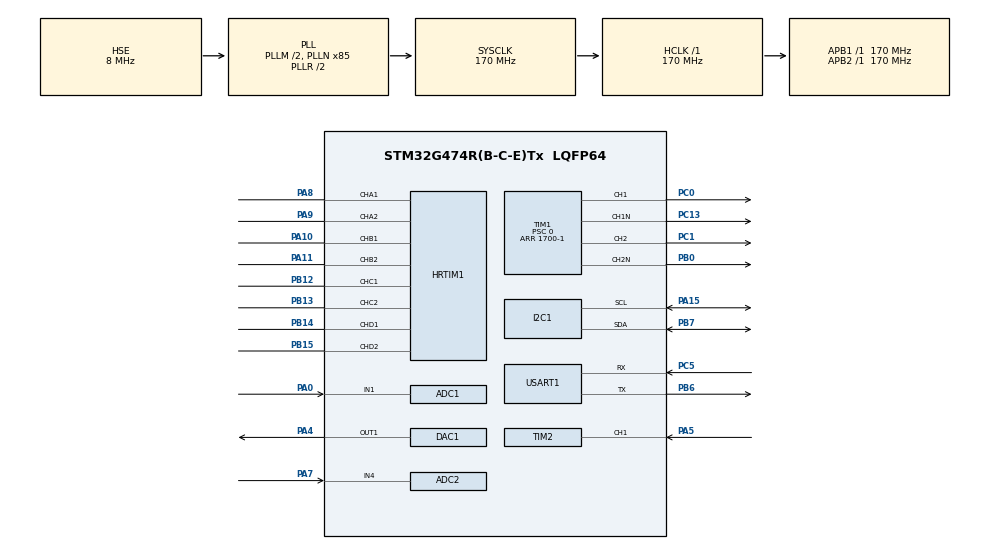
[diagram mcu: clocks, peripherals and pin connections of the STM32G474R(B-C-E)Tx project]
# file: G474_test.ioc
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ADC1.Channel-2\#ChannelRegularConversion=ADC_CHANNEL_1
ADC1.EnableInjectedConversion=DISABLE
ADC1.ExternalTrigConv=ADC_EXTERNALTRIG_T1_TRGO
ADC1.NbrOfConversionFlag=1
ADC1.OffsetNumber-2\#ChannelRegularConversion=ADC_OFFSET_NONE
ADC1.Rank-2\#ChannelRegularConversion=1
ADC1.SamplingTime-2\#ChannelRegularConversion=ADC_SAMPLETIME_2CYCLES_5
ADC1.master=1
ADC2.Channel-0\#ChannelRegularConversion=ADC_CHANNEL_4
ADC2.NbrOfConversionFlag=1
ADC2.OffsetNumber-0\#ChannelRegularConversion=ADC_OFFSET_NONE
ADC2.Rank-0\#ChannelRegularConversion=1
ADC2.SamplingTime-0\#ChannelRegularConversion=ADC_SAMPLETIME_2CYCLES_5
DAC1.DAC_Trigger_OUT1-DAC_OUT1=DAC_TRIGGER_T3_TRGO
Dma.DAC1_CH1.1.Direction=DMA_MEMORY_TO_PERIPH
Dma.DAC1_CH1.1.EventEnable=DISABLE
Dma.DAC1_CH1.1.Instance=DMA1_Channel2
Dma.DAC1_CH1.1.MemDataAlignment=DMA_MDATAALIGN_HALFWORD
Dma.DAC1_CH1.1.MemInc=DMA_MINC_ENABLE
Dma.DAC1_CH1.1.Mode=DMA_CIRCULAR
Dma.DAC1_CH1.1.PeriphDataAlignment=DMA_PDATAALIGN_WORD
Dma.DAC1_CH1.1.PeriphInc=DMA_PINC_DISABLE
Dma.DAC1_CH1.1.Polarity=HAL_DMAMUX_REQ_GEN_RISING
Dma.DAC1_CH1.1.Priority=DMA_PRIORITY_LOW
Dma.DAC1_CH1.1.RequestNumber=1
Dma.DAC1_CH1.1.SignalID=NONE
Dma.DAC1_CH1.1.SyncEnable=DISABLE
Dma.DAC1_CH1.1.SyncPolarity=HAL_DMAMUX_SYNC_NO_EVENT
Dma.DAC1_CH1.1.SyncRequestNumber=1
Dma.DAC1_CH1.1.SyncSignalID=NONE
Dma.Request0=USART1_TX
Dma.Request1=DAC1_CH1
Dma.USART1_TX.0.Direction=DMA_MEMORY_TO_PERIPH
Dma.USART1_TX.0.EventEnable=DISABLE
Dma.USART1_TX.0.Instance=DMA1_Channel1
Dma.USART1_TX.0.MemDataAlignment=DMA_MDATAALIGN_BYTE
Dma.USART1_TX.0.MemInc=DMA_MINC_ENABLE
Dma.USART1_TX.0.Mode=DMA_CIRCULAR
Dma.USART1_TX.0.PeriphDataAlignment=DMA_PDATAALIGN_BYTE
Dma.USART1_TX.0.PeriphInc=DMA_PINC_DISABLE
Dma.USART1_TX.0.Polarity=HAL_DMAMUX_REQ_GEN_RISING
Dma.USART1_TX.0.Priority=DMA_PRIORITY_LOW
Dma.USART1_TX.0.RequestNumber=1
Dma.USART1_TX.0.SignalID=NONE
Dma.USART1_TX.0.SyncEnable=DISABLE
Dma.USART1_TX.0.SyncPolarity=HAL_DMAMUX_SYNC_NO_EVENT
Dma.USART1_TX.0.SyncRequestNumber=1
Dma.USART1_TX.0.SyncSignalID=NONE
HRTIM1.CompareUnit1-MasterTimer=HRTIM_COMPAREUNIT_1
HRTIM1.CompareUnit1-Output_TA1TA2=HRTIM_COMPAREUNIT_1
HRTIM1.CompareUnit1-Output_TB1TB2=HRTIM_COMPAREUNIT_1
HRTIM1.CompareUnit1-Output_TC1TC2=HRTIM_COMPAREUNIT_1
HRTIM1.CompareUnit1-Output_TD1TD2=HRTIM_COMPAREUNIT_1
HRTIM1.CompareUnit2-MasterTimer=HRTIM_COMPAREUNIT_2
HRTIM1.CompareUnit3-MasterTimer=HRTIM_COMPAREUNIT_3
HRTIM1.CompareUnit4-MasterTimer=HRTIM_COMPAREUNIT_4
HRTIM1.CompareValue1-MasterTimer=200
HRTIM1.CompareValue1-Output_TA1TA2=850
HRTIM1.CompareValue1-Output_TB1TB2=850
HRTIM1.CompareValue1-Output_TC1TC2=850
HRTIM1.CompareValue1-Output_TD1TD2=850
HRTIM1.CompareValue2-MasterTimer=400
HRTIM1.CompareValue3-MasterTimer=600
HRTIM1.CompareValue4-MasterTimer=800
HRTIM1.DeadTimeInsertion-Output_TA1TA2=HRTIM_TIMDEADTIMEINSERTION_ENABLED
HRTIM1.DeadTimeInsertion-Output_TB1TB2=HRTIM_TIMDEADTIMEINSERTION_ENABLED
HRTIM1.DeadTimeInsertion-Output_TC1TC2=HRTIM_TIMDEADTIMEINSERTION_ENABLED
HRTIM1.DeadTimeInsertion-Output_TD1TD2=HRTIM_TIMDEADTIMEINSERTION_ENABLED
HRTIM1.FallingValue-Output_TA1TA2=8.5
HRTIM1.FallingValue-Output_TB1TB2=8.5
HRTIM1.FallingValue-Output_TC1TC2=8.5
HRTIM1.FallingValue-Output_TD1TD2=8.5
HRTIM1.NumberResetSource1-Output_TA1TA2=1
HRTIM1.NumberResetSource1-Output_TB1TB2=1
HRTIM1.NumberResetSource1-Output_TC1TC2=1
HRTIM1.NumberResetSource1-Output_TD1TD2=1
HRTIM1.NumberSetSource1-Output_TA1TA2=1
HRTIM1.NumberSetSource1-Output_TB1TB2=1
HRTIM1.NumberSetSource1-Output_TC1TC2=1
HRTIM1.NumberSetSource1-Output_TD1TD2=1
HRTIM1.Periode_MASTER=1700
HRTIM1.Periode_TA=1700
HRTIM1.Periode_TB=1700
HRTIM1.Periode_TC=1700
HRTIM1.Periode_TD=1700
HRTIM1.PreloadEnable-MasterTimer=HRTIM_PRELOAD_ENABLED
HRTIM1.PreloadEnable-Output_TA1TA2=HRTIM_PRELOAD_ENABLED
HRTIM1.PreloadEnable-Output_TB1TB2=HRTIM_PRELOAD_ENABLED
HRTIM1.PreloadEnable-Output_TC1TC2=HRTIM_PRELOAD_ENABLED
HRTIM1.PreloadEnable-Output_TD1TD2=HRTIM_PRELOAD_ENABLED
HRTIM1.PrescalerDead-Output_TA1TA2=HRTIM_TIMDEADTIME_PRESCALERRATIO_DIV1
HRTIM1.PrescalerDead-Output_TB1TB2=HRTIM_TIMDEADTIME_PRESCALERRATIO_DIV1
HRTIM1.PrescalerDead-Output_TC1TC2=HRTIM_TIMDEADTIME_PRESCALERRATIO_DIV1
HRTIM1.PrescalerDead-Output_TD1TD2=HRTIM_TIMDEADTIME_PRESCALERRATIO_DIV1
HRTIM1.PrescalerRatio_MASTER=HRTIM_PRESCALERRATIO_DIV1
HRTIM1.PrescalerRatio_TA=HRTIM_PRESCALERRATIO_DIV1
HRTIM1.PrescalerRatio_TB=HRTIM_PRESCALERRATIO_DIV1
HRTIM1.PrescalerRatio_TC=HRTIM_PRESCALERRATIO_DIV1
HRTIM1.PrescalerRatio_TD=HRTIM_PRESCALERRATIO_DIV1
HRTIM1.RepetitionUpdate-MasterTimer=HRTIM_UPDATEONREPETITION_ENABLED
HRTIM1.RepetitionUpdate-Output_TA1TA2=HRTIM_UPDATEONREPETITION_ENABLED
HRTIM1.RepetitionUpdate-Output_TB1TB2=HRTIM_UPDATEONREPETITION_ENABLED
HRTIM1.RepetitionUpdate-Output_TC1TC2=HRTIM_UPDATEONREPETITION_ENABLED
HRTIM1.RepetitionUpdate-Output_TD1TD2=HRTIM_UPDATEONREPETITION_ENABLED
HRTIM1.ResetOutput1_Source1-Output_TA1TA2=HRTIM_OUTPUTRESET_TIMCMP1
HRTIM1.ResetOutput1_Source1-Output_TB1TB2=HRTIM_OUTPUTRESET_TIMCMP1
HRTIM1.ResetOutput1_Source1-Output_TC1TC2=HRTIM_OUTPUTRESET_TIMCMP1
HRTIM1.ResetOutput1_Source1-Output_TD1TD2=HRTIM_OUTPUTRESET_TIMCMP1
HRTIM1.RisingValue-Output_TA1TA2=8.5
HRTIM1.RisingValue-Output_TB1TB2=8.5
HRTIM1.RisingValue-Output_TC1TC2=8.5
HRTIM1.RisingValue-Output_TD1TD2=8.5
HRTIM1.SetOutput1_Source1-Output_TA1TA2=HRTIM_OUTPUTSET_MASTERCMP1
HRTIM1.SetOutput1_Source1-Output_TB1TB2=HRTIM_OUTPUTSET_MASTERCMP2
HRTIM1.SetOutput1_Source1-Output_TC1TC2=HRTIM_OUTPUTSET_MASTERCMP3
HRTIM1.SetOutput1_Source1-Output_TD1TD2=HRTIM_OUTPUTSET_MASTERCMP4
I2C1.Timing=0x40B285C2
Mcu.Family=STM32G4
Mcu.Name=STM32G474R(B-C-E)Tx
Mcu.Package=LQFP64
NVIC.DMA1_Channel1_IRQn=true\:0\:0\:false\:false\:true\:false\:true\:true
NVIC.DMA1_Channel2_IRQn=true\:0\:0\:false\:false\:true\:false\:true\:true
NVIC.PriorityGroup=NVIC_PRIORITYGROUP_4
NVIC.TIM2_IRQn=true\:0\:0\:false\:false\:true\:true\:true\:true
PA0.Mode=IN1-Single-Ended
PA0.Signal=ADC1_IN1
PA10.Mode=Output_TB1TB2
PA10.Signal=HRTIM1_CHB1
PA11.Mode=Output_TB1TB2
PA11.Signal=HRTIM1_CHB2
PA13.Mode=Serial_Wire
PA13.Signal=SYS_JTMS-SWDIO
PA14.Mode=Serial_Wire
PA14.Signal=SYS_JTCK-SWCLK
PA15.Mode=I2C
PA15.Signal=I2C1_SCL
PA4.Signal=COMP_DAC11_group
PA5.Signal=S_TIM2_CH1
PA7.Mode=IN4-Single-Ended
PA7.Signal=ADC2_IN4
PA8.Mode=Output_TA1TA2
PA8.Signal=HRTIM1_CHA1
PA9.Mode=Output_TA1TA2
PA9.Signal=HRTIM1_CHA2
PB0.Mode=PWM Generation2 CH2 CH2N
PB0.Signal=TIM1_CH2N
PB12.Mode=Output_TC1TC2
PB12.Signal=HRTIM1_CHC1
PB13.Mode=Output_TC1TC2
PB13.Signal=HRTIM1_CHC2
PB14.Mode=Output_TD1TD2
PB14.Signal=HRTIM1_CHD1
PB15.Mode=Output_TD1TD2
PB15.Signal=HRTIM1_CHD2
PB6.Mode=Asynchronous
PB6.Signal=USART1_TX
PB7.Mode=I2C
PB7.Signal=I2C1_SDA
PC0.GPIO_ModeDefaultPP=GPIO_MODE_AF_PP
PC0.GPIO_PuPd=GPIO_NOPULL
PC0.GPIO_Speed=GPIO_SPEED_FREQ_VERY_HIGH
PC0.Signal=S_TIM1_CH1
PC1.Signal=S_TIM1_CH2
PC13.GPIO_PuPd=GPIO_NOPULL
PC13.Mode=PWM Generation1 CH1 CH1N
PC13.Signal=TIM1_CH1N
PC14-OSC32_IN.Mode=LSE-External-Oscillator
PC14-OSC32_IN.Signal=RCC_OSC32_IN
PC15-OSC32_OUT.Mode=LSE-External-Oscillator
PC15-OSC32_OUT.Signal=RCC_OSC32_OUT
PC5.Mode=Asynchronous
PC5.Signal=USART1_RX
PF0-OSC_IN.Mode=HSE-External-Oscillator
PF0-OSC_IN.Signal=RCC_OSC_IN
PF1-OSC_OUT.Mode=HSE-External-Oscillator
PF1-OSC_OUT.Signal=RCC_OSC_OUT
ProjectManager.HeapSize=0x200
ProjectManager.StackSize=0x800
ProjectManager.TargetToolchain=MDK-ARM V5.27
RCC.ADC12Freq_Value=170000000
RCC.ADC345Freq_Value=170000000
RCC.AHBFreq_Value=170000000
RCC.APB1Freq_Value=170000000
RCC.APB1TimFreq_Value=170000000
RCC.APB2Freq_Value=170000000
RCC.APB2TimFreq_Value=170000000
RCC.CortexFreq_Value=170000000
RCC.EXTERNAL_CLOCK_VALUE=12288000
RCC.HCLKFreq_Value=170000000
RCC.HSE_VALUE=8000000
RCC.HSI48_VALUE=48000000
RCC.HSI_VALUE=16000000
RCC.PLLM=RCC_PLLM_DIV2
RCC.PLLN=85
RCC.PLLSourceVirtual=RCC_PLLSOURCE_HSE
RCC.SYSCLKFreq_VALUE=170000000
RCC.SYSCLKSource=RCC_SYSCLKSOURCE_PLLCLK
RCC.USART1CLockSelection=RCC_USART1CLKSOURCE_SYSCLK
RCC.USBFreq_Value=170000000
RCC.VCOOutputFreq_Value=340000000
SH.COMP_DAC11_group.0=DAC1_OUT1,DAC_OUT1
SH.S_TIM1_CH1.0=TIM1_CH1,PWM Generation1 CH1 CH1N
SH.S_TIM1_CH2.0=TIM1_CH2,PWM Generation2 CH2 CH2N
SH.S_TIM2_CH1.0=TIM2_CH1,Input_Capture1_from_TI1
TIM1.AutoReloadPreload=TIM_AUTORELOAD_PRELOAD_DISABLE
TIM1.Break2State=TIM_BREAK2_ENABLE
TIM1.BreakState=TIM_BREAK_DISABLE
TIM1.Channel-PWM\ Generation1\ CH1\ CH1N=TIM_CHANNEL_1
TIM1.Channel-PWM\ Generation2\ CH2\ CH2N=TIM_CHANNEL_2
TIM1.OCMode_PWM-PWM\ Generation1\ CH1\ CH1N=TIM_OCMODE_PWM1
TIM1.PeriodNoDither=1700-1
TIM1.Prescaler=0
TIM1.PulseNoDither_1=850
TIM1.PulseNoDither_2=850
TIM1.TIM_MasterOutputTrigger=TIM_TRGO_UPDATE
TIM1.TIM_MasterSlaveMode=TIM_MASTERSLAVEMODE_DISABLE
TIM2.Channel-Input_Capture1_from_TI1=TIM_CHANNEL_1
TIM2.PeriodNoDither=17000
TIM3.Channel-PWM\ Generation1\ No\ Output=TIM_CHANNEL_1
TIM3.PeriodNoDither=99
TIM3.Prescaler=65
TIM3.TIM_MasterOutputTrigger=TIM_TRGO_UPDATE
TIM3.TIM_MasterSlaveMode=TIM_MASTERSLAVEMODE_ENABLE
USART1.VirtualMode-Asynchronous=VM_ASYNC
VP_HRTIM1_VS_hrtimMasterTimerNoOutput.Mode=MasterTimer
VP_SYS_VS_DBSignals.Mode=DisableDeadBatterySignals
VP_TIM1_VS_ClockSourceINT.Mode=Internal
VP_TIM2_VS_ClockSourceINT.Mode=Internal
VP_TIM3_VS_ClockSourceINT.Mode=Internal
VP_TIM3_VS_no_output1.Mode=PWM Generation1 No Output
board=custom

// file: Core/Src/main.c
/* USER CODE BEGIN Header */
/**
  ******************************************************************************
  * @file           : main.c
  * @brief          : Main program body
  ******************************************************************************
  * @attention
  *
  * Copyright (c) 2025 STMicroelectronics.
  * All rights reserved.
  *
  * This software is licensed under terms that can be found in the LICENSE file
  * in the root directory of this software component.
  * If no LICENSE file comes with this software, it is provided AS-IS.
  *
  ******************************************************************************
  */
/* USER CODE END Header */
#include "main.h"
#include "adc.h"
#include "dac.h"
#include "dma.h"
#include "hrtim.h"
#include "i2c.h"
#include "tim.h"
#include "usart.h"
#include "gpio.h"

/* USER CODE BEGIN Includes */
#include "delay_us.h"
#include "stdio.h"
#include "string.h"
#include <math.h>
/* USER CODE END Includes */

/* USER CODE BEGIN PTD */

//#define SINE_RESOLUTION 128  // point number of sin wave
#define SINE_RESOLUTION 512  // point number of sin wave
uint16_t sine_wave[SINE_RESOLUTION];
//uint16_t shifted_sine_wave[SINE_RESOLUTION];

int fputc(int ch, FILE *f) {
    // ?? HAL ??????? UART
    HAL_UART_Transmit(&huart1, (uint8_t *)&ch, 1, HAL_MAX_DELAY);
    return ch;
}
/* USER CODE END PTD */

/* USER CODE BEGIN PD */
uint32_t phase_A1_SHIFT;
uint32_t phase_A2_SHIFT;
uint32_t phase_A3_SHIFT;
uint32_t phase_A4_SHIFT;
#ifndef M_PI
#define M_PI 3.14159265358979323846  // ????? p
#endif
//uint32_t phase_A1,phase_A2,phase_A3,phase_A4;
/* USER CODE END PD */

void SystemClock_Config(void);
/* USER CODE BEGIN PFP */
void Generate_Sine_Wave(void);
void start_module_A(void);
void phase_shift_A(uint32_t period_set_A,uint32_t phase_A1,uint32_t phase_A2,uint32_t phase_A3,uint32_t phase_A4);
void HAL_TIM_IC_CaptureCallback(TIM_HandleTypeDef *htim);
/* USER CODE END PFP */

/* USER CODE BEGIN 0 */
void start_module_A(void)
	{
	HAL_HRTIM_WaveformCounterStart(&hhrtim1,HRTIM_TIMERID_MASTER|HRTIM_TIMERID_TIMER_A|
		HRTIM_TIMERID_TIMER_B|HRTIM_TIMERID_TIMER_C|HRTIM_TIMERID_TIMER_D);

		HAL_HRTIM_WaveformOutputStart(&hhrtim1,HRTIM_OUTPUT_TA1);
		HAL_HRTIM_WaveformOutputStart(&hhrtim1,HRTIM_OUTPUT_TA2);

		HAL_HRTIM_WaveformOutputStart(&hhrtim1,HRTIM_OUTPUT_TB1);
		HAL_HRTIM_WaveformOutputStart(&hhrtim1,HRTIM_OUTPUT_TB2);

		HAL_HRTIM_WaveformOutputStart(&hhrtim1,HRTIM_OUTPUT_TC1);
		HAL_HRTIM_WaveformOutputStart(&hhrtim1,HRTIM_OUTPUT_TC2);

		HAL_HRTIM_WaveformOutputStart(&hhrtim1,HRTIM_OUTPUT_TD1);
		HAL_HRTIM_WaveformOutputStart(&hhrtim1,HRTIM_OUTPUT_TD2);
	}

void phase_shift_A(uint32_t period_set_A,uint32_t phase_A1,uint32_t phase_A2,uint32_t phase_A3,uint32_t phase_A4)
	{
	HRTIM_TimeBaseCfgTypeDef pTimeBaseCfg = {0};
	HRTIM_TimerCfgTypeDef pTimerCfg = {0};
	HRTIM_CompareCfgTypeDef pCompareCfg = {0};
	HRTIM_TimerCtlTypeDef pTimerCtl = {0};
	HRTIM_DeadTimeCfgTypeDef pDeadTimeCfg = {0};
	HRTIM_OutputCfgTypeDef pOutputCfg = {0};

	phase_A1_SHIFT = period_set_A*phase_A1/360;
	phase_A2_SHIFT = period_set_A*phase_A2/360;
	phase_A3_SHIFT = period_set_A*phase_A3/360;
	phase_A4_SHIFT = period_set_A*phase_A4/360; //transfer degree to pulse

	pCompareCfg.CompareValue = phase_A1_SHIFT;
	HAL_HRTIM_WaveformCompareConfig(&hhrtim1,HRTIM_TIMERINDEX_MASTER,HRTIM_COMPAREUNIT_1,&pCompareCfg);
	pCompareCfg.CompareValue = phase_A1_SHIFT + period_set_A/2;
	HAL_HRTIM_WaveformCompareConfig(&hhrtim1,HRTIM_TIMERINDEX_TIMER_A,HRTIM_COMPAREUNIT_1,&pCompareCfg);

	pCompareCfg.CompareValue = phase_A2_SHIFT;
	HAL_HRTIM_WaveformCompareConfig(&hhrtim1,HRTIM_TIMERINDEX_MASTER,HRTIM_COMPAREUNIT_2,&pCompareCfg);
	pCompareCfg.CompareValue = phase_A2_SHIFT + period_set_A/2;
	HAL_HRTIM_WaveformCompareConfig(&hhrtim1,HRTIM_TIMERINDEX_TIMER_B,HRTIM_COMPAREUNIT_1,&pCompareCfg);

	pCompareCfg.CompareValue = phase_A3_SHIFT;
	HAL_HRTIM_WaveformCompareConfig(&hhrtim1,HRTIM_TIMERINDEX_MASTER,HRTIM_COMPAREUNIT_3,&pCompareCfg);
	pCompareCfg.CompareValue = phase_A3_SHIFT + period_set_A/2;
	HAL_HRTIM_WaveformCompareConfig(&hhrtim1,HRTIM_TIMERINDEX_TIMER_C,HRTIM_COMPAREUNIT_1,&pCompareCfg);

	pCompareCfg.CompareValue = phase_A4_SHIFT;
	HAL_HRTIM_WaveformCompareConfig(&hhrtim1,HRTIM_TIMERINDEX_MASTER,HRTIM_COMPAREUNIT_4,&pCompareCfg);
	pCompareCfg.CompareValue = phase_A4_SHIFT + period_set_A/2;
	HAL_HRTIM_WaveformCompareConfig(&hhrtim1,HRTIM_TIMERINDEX_TIMER_D,HRTIM_COMPAREUNIT_1,&pCompareCfg);
	}

void Generate_Sine_Wave(void) {
    for (int i = 0; i < SINE_RESOLUTION; i++) {
        // ????? 0-4095 ?????
        sine_wave[i] = (uint16_t)((sin(2 * M_PI * i / SINE_RESOLUTION) + 1) * 2047*0.8);
    }
}
//	void Generate_Sine_Wave(void) {
//    for (int i = 0; i < SINE_RESOLUTION; i++) {
//        // ?? 0-4095 ??????
//        sine_wave[i] = (uint16_t)((sin(2 * M_PI * i / SINE_RESOLUTION) + 1) * 2047);
//		}
//	}
//	void Generate_Sine_Wave(void) {
//    // ???????????
//    for (int i = 0; i < SINE_RESOLUTION; i++) {
//        sine_wave[i] = (uint16_t)((sin(2 * M_PI * i / SINE_RESOLUTION) + 1) * 2047);
//    }

//    // ?????????
//    int offset = SINE_RESOLUTION / 4;  // ?? 1/4 ??
//    for (int i = 0; i < SINE_RESOLUTION; i++) {
//        shifted_sine_wave[i] = sine_wave[(i + offset) % SINE_RESOLUTION];
//    }
//}

//	void Generate_Sine_Wave(void) {
//    for (int i = 0; i < SINE_RESOLUTION; i++) {
//
//        sine_wave[i] = (uint16_t)((sin(2 * M_PI * i / SINE_RESOLUTION + M_PI) + 1) * 2047);
//		}
//	}

//	void Generate_Sine_Wave(void) {
//    for (int i = 0; i < SINE_RESOLUTION; i++) {
//        // ??? sin(p/2) ??????
//        sine_wave[i] = (uint16_t)((sin(2 * M_PI * i / SINE_RESOLUTION - M_PI / 2) + 1) * 2047);
//    }
//}

void HAL_TIM_IC_CaptureCallback(TIM_HandleTypeDef *htim) {
    if (htim->Instance == TIM2 && htim->Channel == HAL_TIM_ACTIVE_CHANNEL_1) {
        // ?????????,?? TIM3 ? DAC ??

        // Step 1: ?? TIM3
        HAL_TIM_Base_Stop(&htim3);  // ?? TIM3
        __HAL_TIM_SET_COUNTER(&htim3, 0);  // ?????

        // Step 2: ?? DAC ? DMA
        HAL_DAC_Stop_DMA(&hdac1, DAC_CHANNEL_1);

        // Step 3: ???? TIM3
        HAL_TIM_Base_Start(&htim3);

        // Step 4: ???? DAC ? DMA ??
        HAL_DAC_Start_DMA(&hdac1, DAC_CHANNEL_1, (uint32_t *)sine_wave, SINE_RESOLUTION, DAC_ALIGN_12B_R);
    }
}

//	void HAL_TIM_IC_CaptureCallback(TIM_HandleTypeDef *htim) {
//    if (htim->Instance == TIM2 && htim->Channel == HAL_TIM_ACTIVE_CHANNEL_1) {
//        // ????????,?? TIM3 ? DAC
//
//        // ????? TIM3(????????)
//        __HAL_TIM_SET_COUNTER(&htim3, 0);  // ? TIM3 ??????
//        HAL_TIM_Base_Start(&htim3);       // ?? TIM3

//        // ?? DAC,?? DMA ?????
//        HAL_DAC_Start_DMA(&hdac1, DAC_CHANNEL_1, (uint32_t *)sine_wave, SINE_RESOLUTION, DAC_ALIGN_12B_R);
//    }
//}
//void HAL_TIM_IC_CaptureCallback(TIM_HandleTypeDef *htim) {
//    if (htim->Instance == TIM2 && htim->Channel == HAL_TIM_ACTIVE_CHANNEL_1) {
//        // ??? TIM2 ??????

//        // ?? TIM3(?? DAC)
//        HAL_TIM_Base_Start(&htim3);

//        // ?? DAC ??? DMA ?????
//        HAL_DAC_Start_DMA(&hdac1, DAC_CHANNEL_1, (uint32_t *)sine_wave, SINE_RESOLUTION, DAC_ALIGN_12B_R);
//    }
//}

//void HAL_TIM_IC_CaptureCallback(TIM_HandleTypeDef *htim) {
//    if (htim->Instance == TIM2 && htim->Channel == HAL_TIM_ACTIVE_CHANNEL_1) {
//        // ????????,?? TIM3 ? DAC
//
//        // ????? TIM3(????????)
//        __HAL_TIM_SET_COUNTER(&htim3, 0);  // ? TIM3 ??????
//        HAL_TIM_Base_Start(&htim3);       // ?? TIM3

//        // ?? DAC,?? DMA ?????
//        HAL_DAC_Start_DMA(&hdac1, DAC_CHANNEL_1, (uint32_t *)sine_wave, SINE_RESOLUTION, DAC_ALIGN_12B_R);
//    }
//}

//uint32_t adc_value = 0;
//uint32_t phase_offset = 0;

//uint32_t ch1_phase = 0;
//uint32_t ch2_phase = 0;

//uint32_t phase_offset = 0;

/* USER CODE END 0 */

int main(void)
{

  /* MCU Configuration--------------------------------------------------------*/

  /* Reset of all peripherals, Initializes the Flash interface and the Systick. */
  HAL_Init();

  /* Configure the system clock */
  SystemClock_Config();

  /* Initialize all configured peripherals */
  MX_GPIO_Init();
  MX_DMA_Init();
  MX_TIM1_Init();
  MX_I2C1_Init();
  MX_USART1_UART_Init();
  MX_ADC1_Init();
  MX_HRTIM1_Init();
  MX_ADC2_Init();
  MX_TIM2_Init();
  MX_TIM3_Init();
  MX_DAC1_Init();
  /* USER CODE BEGIN 2 */
   Generate_Sine_Wave();
   HAL_TIM_IC_Start_IT(&htim2, TIM_CHANNEL_1);
  start_module_A();
  phase_shift_A(1700,20,30,40,20);

  int value = 0;       //ADC value
  float voltage = 0.0;
  char message[20] = "";
//	HAL_TIM_PWM_Start(&htim1, TIM_CHANNEL_1);
//    HAL_TIMEx_PWMN_Start(&htim1, TIM_CHANNEL_1);
//	//Delay_us(2);
//	HAL_TIM_PWM_Start(&htim1, TIM_CHANNEL_2);
//    HAL_TIMEx_PWMN_Start(&htim1, TIM_CHANNEL_2);
  /* USER CODE END 2 */

  /* Infinite loop */
  /* USER CODE BEGIN WHILE */
  while (1)
  {

	  HAL_ADC_Start(&hadc2);
	  HAL_ADC_PollForConversion(&hadc2,HAL_MAX_DELAY);
	  value = HAL_ADC_GetValue(&hadc2);
	  voltage = (value / 4095.0) * 3.3;

      //phase_offset += 25;
	  //phase_offset = 25;
	  //__HAL_TIM_SET_COMPARE(&htim1, TIM_CHANNEL_2, (850 + phase_offset) % htim1.Init.Period);
	  //HAL_Delay(10);
    /* USER CODE END WHILE */

  }
}

void SystemClock_Config(void)
{
  RCC_OscInitTypeDef RCC_OscInitStruct = {0};
  RCC_ClkInitTypeDef RCC_ClkInitStruct = {0};

  /** Configure the main internal regulator output voltage
  */
  HAL_PWREx_ControlVoltageScaling(PWR_REGULATOR_VOLTAGE_SCALE1_BOOST);

  /** Initializes the RCC Oscillators according to the specified parameters
  * in the RCC_OscInitTypeDef structure.
  */
  RCC_OscInitStruct.OscillatorType = RCC_OSCILLATORTYPE_HSE;
  RCC_OscInitStruct.HSEState = RCC_HSE_ON;
  RCC_OscInitStruct.PLL.PLLState = RCC_PLL_ON;
  RCC_OscInitStruct.PLL.PLLSource = RCC_PLLSOURCE_HSE;
  RCC_OscInitStruct.PLL.PLLM = RCC_PLLM_DIV2;
  RCC_OscInitStruct.PLL.PLLN = 85;
  RCC_OscInitStruct.PLL.PLLP = RCC_PLLP_DIV2;
  RCC_OscInitStruct.PLL.PLLQ = RCC_PLLQ_DIV2;
  RCC_OscInitStruct.PLL.PLLR = RCC_PLLR_DIV2;
  if (HAL_RCC_OscConfig(&RCC_OscInitStruct) != HAL_OK)
  {
    Error_Handler();
  }

  /** Initializes the CPU, AHB and APB buses clocks
  */
  RCC_ClkInitStruct.ClockType = RCC_CLOCKTYPE_HCLK|RCC_CLOCKTYPE_SYSCLK
                              |RCC_CLOCKTYPE_PCLK1|RCC_CLOCKTYPE_PCLK2;
  RCC_ClkInitStruct.SYSCLKSource = RCC_SYSCLKSOURCE_PLLCLK;
  RCC_ClkInitStruct.AHBCLKDivider = RCC_SYSCLK_DIV1;
  RCC_ClkInitStruct.APB1CLKDivider = RCC_HCLK_DIV1;
  RCC_ClkInitStruct.APB2CLKDivider = RCC_HCLK_DIV1;

  if (HAL_RCC_ClockConfig(&RCC_ClkInitStruct, FLASH_LATENCY_4) != HAL_OK)
  {
    Error_Handler();
  }
}

/* USER CODE BEGIN 4 */

//void HAL_ADC_ConvCpltCallback(ADC_HandleTypeDef *hadc) {
//    if (hadc->Instance == ADC1) {
//        // ?? ADC ???(??:0 ~ 4095)
//        adc_value = HAL_ADC_GetValue(hadc);

//        // ?? ADC ????????
//        // ??????:0 ~ TIM1.Init.Period
//        phase_offset = (adc_value * htim1.Init.Period) / 4095;

//        // ?? TIM1 CH2 ? CCR ?
//        __HAL_TIM_SET_COMPARE(&htim1, TIM_CHANNEL_2, phase_offset);
//    }
//}

//void Update_PWM_Phase(uint32_t adc_value) {
//    // ?? ADC ???????
//    ch1_phase = (adc_value * htim1.Init.Period) / 4095;
//    ch2_phase = ((4095 - adc_value) * htim1.Init.Period) / 4095;

//    // ?? TIM1 CH1 ? CH2 ???
//    __HAL_TIM_SET_COMPARE(&htim1, TIM_CHANNEL_1, ch1_phase);
//    __HAL_TIM_SET_COMPARE(&htim1, TIM_CHANNEL_2, ch2_phase);
//}

/* USER CODE END 4 */

void Error_Handler(void)
{
  __disable_irq();
  while (1)
  {
  }
}
